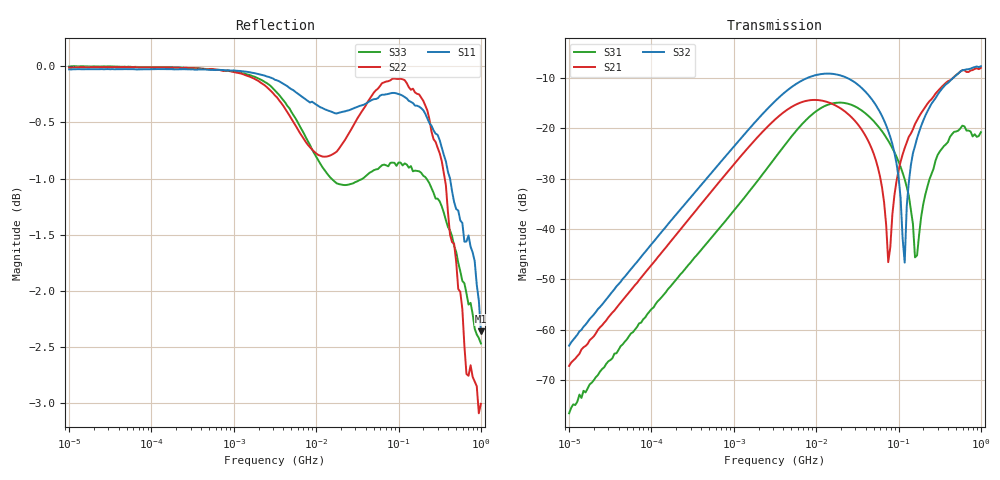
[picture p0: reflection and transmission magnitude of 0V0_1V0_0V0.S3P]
!Keysight Technologies,E5080A,MY55100144,A.11.70.03
!Date: Monday, November 13, 2017 17:24:03
!Correction: S11(Full 3 Port(1,2,3))
!S12(Full 3 Port(1,2,3))
!S13(Full 3 Port(1,2,3))
!S21(Full 3 Port(1,2,3))
!S22(Full 3 Port(1,2,3))
!S23(Full 3 Port(1,2,3))
!S31(Full 3 Port(1,2,3))
!S32(Full 3 Port(1,2,3))
!S33(Full 3 Port(1,2,3))
!S3P File: Measurements: <S11,S12,S13>,
!<S21,S22,S23>,
!<S31,S32,S33>:Log Frequency Sweep
# Hz S  RI  R 50
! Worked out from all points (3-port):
!   201 points, 10 kHz to 1 GHz, reference 50 ohm
!   strongest paths, dB at 10 kHz, 177.8 kHz, 3.162 MHz, 56.23 MHz, 1 GHz:
!     S32: -63.1, -38.1, -14.6, -16.1, -7.7
!     S21: -67.2, -42.1, -18.3, -27.8, -8.0
!     S31: -76.6, -51.0, -25.9, -19.6, -20.8
!   lowest |S11| = -2.4 dB at 1 GHz (marker M1), VSWR 7.41, Z = 370 + j9.66 ohm
!   |S11| at or under -10 dB: nowhere
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10000  0.9969 -0.00175  -1.46e-05 0.000455  -1.1e-05 0.000155
       1.26e-05 0.000438  0.9987 -0.00367  -2.54e-06 0.000711
       -4.97e-06 0.000148  -4.28e-06 0.000696  0.9998 -0.00244
3162278  0.8403 -0.5164  0.0761 0.0956  0.0105 0.0496
         0.076 0.0956  0.6244 -0.743  0.1016 0.1554
         0.0105 0.0498  0.1017 0.1553  0.9354 -0.2761
1.188502e7  -0.0522 -0.9568  0.1861 -0.0245  0.1423 0.0764
            0.1862 -0.0248  -0.4582 -0.7882  0.3449 0.0322
            0.1424 0.0764  0.3449 0.0323  0.5545 -0.7113
4.466836e7  -0.894 -0.363  0.0325 -0.0618  0.0851 -0.097
            0.0325 -0.0618  -0.9541 -0.1592  0.1118 -0.1733
            0.085 -0.0971  0.1118 -0.1733  -0.5057 -0.7405
7.498942e7  -0.9688 -0.0797  0.00414 -0.00225  0.0215 -0.0721
            0.00413 -0.00223  -0.9776 0.1193  0.0174 -0.0926
            0.0214 -0.0721  0.0174 -0.0926  -0.7977 -0.4222
1.188502e8  -0.9547 0.1659  0.0188 0.0608  0.000277 -0.0311
            0.0189 0.0608  -0.904 0.3936  0.00142 0.00444
            0.0003 -0.0311  0.00142 0.00442  -0.8998 -0.099
1.584893e8  -0.9019 0.3305  0.05 0.0982  0.00205 -0.00484
            0.0501 0.0982  -0.7897 0.5694  0.028 0.0604
            0.00214 -0.00478  0.0281 0.0605  -0.8924 0.1058
1.995262e8  -0.8354 0.4648  0.0959 0.118  0.0153 0.00881
            0.0961 0.1179  -0.6461 0.7173  0.0677 0.0982
            0.0153 0.00875  0.0675 0.0982  -0.8515 0.2722
5.623413e8  0.1013 0.8478  0.321 -0.1729  0.0659 -0.0739
            0.3211 -0.1736  0.5635 0.5587  0.3365 -0.1427
            0.0662 -0.0742  0.3363 -0.1425  -0.0616 0.8081
1e9  0.762 0.00547  -0.0946 -0.3864  -0.0562 -0.0724
     -0.0944 -0.3863  0.5911 -0.3889  -0.0451 -0.4113
     -0.0563 -0.072  -0.0449 -0.4109  0.6863 0.3091
